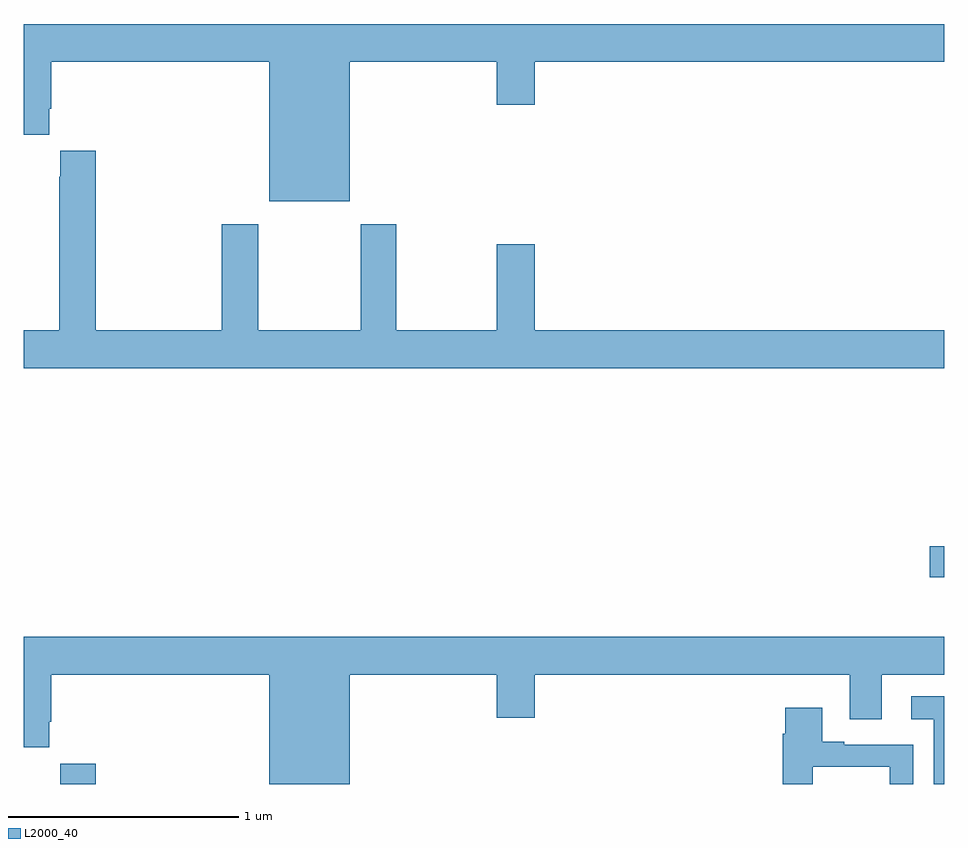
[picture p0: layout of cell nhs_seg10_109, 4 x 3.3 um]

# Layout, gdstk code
import gdstk
lib = gdstk.Library(unit=1e-6, precision=1e-09)
def R(c, l, rs):  # rectangles x0, y0, x1, y1
    for r in rs: c.add(gdstk.rectangle(r[:2], r[2:], *l))
def P(c, l, *ps):  # polygons
    for p in ps: c.add(gdstk.Polygon(p, *l))
L2000_40 = (2000, 40)

nhs_seg10_109 = lib.new_cell('nhs_seg10_109')
R(nhs_seg10_109, L2000_40, [(115.157,1306.5,115.313,1306.588), (118.938,1307.399,119,1307.534)])
P(nhs_seg10_109, L2000_40, [(116.416,1309.64),(117.056,1309.64),(117.056,1309.452),(117.22,1309.452),(117.22,1309.64),(119,1309.64),(119,1309.804),(115,1309.804),(115,1309.323),(115.111,1309.323),(115.111,1309.435),(115.118,1309.435),(115.118,1309.64),(116.066,1309.64),(116.066,1309.034),(116.416,1309.034)],
  [(119,1308.472),(117.22,1308.472),(117.22,1308.847),(117.056,1308.847),(117.056,1308.472),(116.619,1308.472),(116.619,1308.934),(116.464,1308.934),(116.464,1308.472),(116.019,1308.472),(116.019,1308.934),(115.859,1308.934),(115.859,1308.472),(115.313,1308.472),(115.313,1309.252),(115.157,1309.252),(115.157,1309.139),(115.153,1309.139),(115.153,1308.472),(115,1308.472),(115,1308.308),(119,1308.308)],
  [(116.416,1306.976),(117.056,1306.976),(117.056,1306.788),(117.22,1306.788),(117.22,1306.976),(118.589,1306.976),(118.589,1306.782),(118.729,1306.782),(118.729,1306.976),(119,1306.976),(119,1307.14),(115,1307.14),(115,1306.659),(115.111,1306.659),(115.111,1306.771),(115.118,1306.771),(115.118,1306.976),(116.066,1306.976),(116.066,1306.5),(116.416,1306.5)],
  [(119,1306.882),(118.857,1306.882),(118.857,1306.781),(118.955,1306.781),(118.955,1306.5),(119,1306.5)],
  [(118.429,1306.575),(118.763,1306.575),(118.763,1306.5),(118.867,1306.5),(118.867,1306.671),(118.567,1306.671),(118.567,1306.684),(118.471,1306.684),(118.471,1306.831),(118.31,1306.831),(118.31,1306.718),(118.298,1306.718),(118.298,1306.5),(118.429,1306.5)])

lib.write_gds('nhs_seg10_109.gds')
